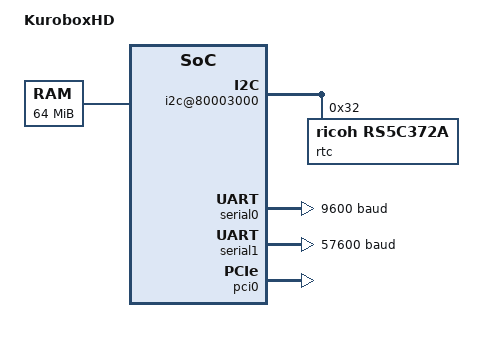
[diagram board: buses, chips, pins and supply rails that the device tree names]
/*
 * Device Tree Souce for Buffalo KuroboxHD
 *
 * Choose CONFIG_LINKSTATION to build a kernel for KuroboxHD, or use
 * the default configuration linkstation_defconfig.
 *
 * Based on sandpoint.dts
 *
 * 2006 (c) G. Liakhovetski <g.liakhovetski@gmx.de>
 * Copyright 2008 Freescale Semiconductor, Inc.
 *
 * This file is licensed under
 * the terms of the GNU General Public License version 2.  This program
 * is licensed "as is" without any warranty of any kind, whether express
 * or implied.

XXXX add flash parts, rtc, ??

 */

/dts-v1/;

/ {
	model = "KuroboxHD";
	compatible = "linkstation";
	#address-cells = <1>;
	#size-cells = <1>;

	aliases {
		serial0 = &serial0;
		serial1 = &serial1;
		pci0 = &pci0;
	};

	cpus {
		#address-cells = <1>;
		#size-cells = <0>;

		PowerPC,603e { /* Really 8241 */
			device_type = "cpu";
			reg = <0x0>;
			clock-frequency = <200000000>;	/* Fixed by bootloader */
			timebase-frequency = <24391680>; /* Fixed by bootloader */
			bus-frequency = <0>;		/* Fixed by bootloader */
			/* Following required by dtc but not used */
			i-cache-size = <0x4000>;
			d-cache-size = <0x4000>;
		};
	};

	memory {
		device_type = "memory";
		reg = <0x0 0x4000000>;
	};

	soc10x { /* AFAICT need to make soc for 8245's uarts to be defined */
		#address-cells = <1>;
		#size-cells = <1>;
		device_type = "soc";
		compatible = "mpc10x";
		store-gathering = <0>; /* 0 == off, !0 == on */
		reg = <0x80000000 0x100000>;
		ranges = <0x80000000 0x80000000 0x70000000	/* pci mem space */
			  0xfc000000 0xfc000000 0x100000	/* EUMB */
			  0xfe000000 0xfe000000 0xc00000	/* pci i/o space */
			  0xfec00000 0xfec00000 0x300000	/* pci cfg regs */
			  0xfef00000 0xfef00000 0x100000>;	/* pci iack */

		i2c@80003000 {
			#address-cells = <1>;
			#size-cells = <0>;
			cell-index = <0>;
			compatible = "fsl-i2c";
			reg = <0x80003000 0x1000>;
			interrupts = <5 2>;
			interrupt-parent = <&mpic>;

			rtc@32 {
				device_type = "rtc";
				compatible = "ricoh,rs5c372a";
				reg = <0x32>;
			};
		};

		serial0: serial@80004500 {
			cell-index = <0>;
			device_type = "serial";
			compatible = "ns16550";
			reg = <0x80004500 0x8>;
			clock-frequency = <97553800>;
			current-speed = <9600>;
			interrupts = <9 0>;
			interrupt-parent = <&mpic>;
		};

		serial1: serial@80004600 {
			cell-index = <1>;
			device_type = "serial";
			compatible = "ns16550";
			reg = <0x80004600 0x8>;
			clock-frequency = <97553800>;
			current-speed = <57600>;
			interrupts = <10 0>;
			interrupt-parent = <&mpic>;
		};

		mpic: interrupt-controller@80040000 {
			#interrupt-cells = <2>;
			#address-cells = <0>;
			device_type = "open-pic";
			compatible = "chrp,open-pic";
			interrupt-controller;
			reg = <0x80040000 0x40000>;
		};

		pci0: pci@fec00000 {
			#address-cells = <3>;
			#size-cells = <2>;
			#interrupt-cells = <1>;
			device_type = "pci";
			compatible = "mpc10x-pci";
			reg = <0xfec00000 0x400000>;
			ranges = <0x1000000 0x0        0x0 0xfe000000 0x0 0xc00000
				  0x2000000 0x0 0x80000000 0x80000000 0x0 0x70000000>;
			bus-range = <0 255>;
			clock-frequency = <133333333>;
			interrupt-parent = <&mpic>;
			interrupt-map-mask = <0xf800 0x0 0x0 0x7>;
			interrupt-map = <
				/* IDSEL 11 - IRQ0 ETH */
				0x5800 0x0 0x0 0x1 &mpic 0x0 0x1
				0x5800 0x0 0x0 0x2 &mpic 0x1 0x1
				0x5800 0x0 0x0 0x3 &mpic 0x2 0x1
				0x5800 0x0 0x0 0x4 &mpic 0x3 0x1
				/* IDSEL 12 - IRQ1 IDE0 */
				0x6000 0x0 0x0 0x1 &mpic 0x1 0x1
				0x6000 0x0 0x0 0x2 &mpic 0x2 0x1
				0x6000 0x0 0x0 0x3 &mpic 0x3 0x1
				0x6000 0x0 0x0 0x4 &mpic 0x0 0x1
				/* IDSEL 14 - IRQ3 USB2.0 */
				0x7000 0x0 0x0 0x1 &mpic 0x3 0x1
				0x7000 0x0 0x0 0x2 &mpic 0x3 0x1
				0x7000 0x0 0x0 0x3 &mpic 0x3 0x1
				0x7000 0x0 0x0 0x4 &mpic 0x3 0x1
			>;
		};
	};
};
